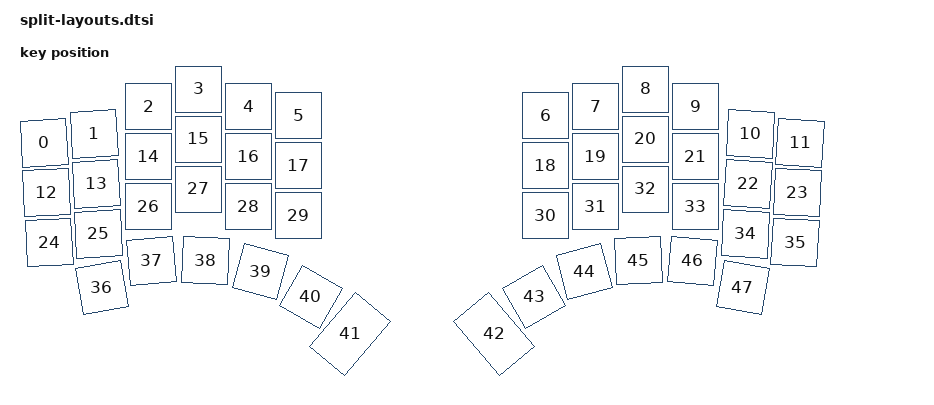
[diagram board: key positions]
// See https://zmk.dev/docs/development/hardware-integration/physical-layouts
// for how to configure this.

#include <physical_layouts.dtsi>

/ {
    physical_layout0: physical_layout_0 {
        compatible = "zmk,physical-layout";
        display-name = "LAYOUT";

        kscan = <&kscan0>;
        transform = <&matrix_transform0>;

        keys  //                     w   h    x    y     rot    rx    ry
            = <&key_physical_attrs 100 100    0  108  (-300)    50   158>
            , <&key_physical_attrs 100 100  100   90  (-300)   150   140>
            , <&key_physical_attrs 100 100  209   35       0     0     0>
            , <&key_physical_attrs 100 100  309    0       0     0     0>
            , <&key_physical_attrs 100 100  409   35       0     0     0>
            , <&key_physical_attrs 100 100  509   53       0     0     0>
            , <&key_physical_attrs 100 100 1003   53       0     0     0>
            , <&key_physical_attrs 100 100 1103   35       0     0     0>
            , <&key_physical_attrs 100 100 1203    0       0     0     0>
            , <&key_physical_attrs 100 100 1303   35       0     0     0>
            , <&key_physical_attrs 100 100 1413   90     300  1463   140>
            , <&key_physical_attrs 100 100 1512  108     300  1562   158>
            , <&key_physical_attrs 100 100    5  207  (-300)    55   257>
            , <&key_physical_attrs 100 100  104  190  (-300)   154   240>
            , <&key_physical_attrs 100 100  209  135       0     0     0>
            , <&key_physical_attrs 100 100  309  100       0     0     0>
            , <&key_physical_attrs 100 100  409  135       0     0     0>
            , <&key_physical_attrs 100 100  509  153       0     0     0>
            , <&key_physical_attrs 100 100 1003  153       0     0     0>
            , <&key_physical_attrs 100 100 1103  135       0     0     0>
            , <&key_physical_attrs 100 100 1203  100       0     0     0>
            , <&key_physical_attrs 100 100 1303  135       0     0     0>
            , <&key_physical_attrs 100 100 1408  190     300  1458   240>
            , <&key_physical_attrs 100 100 1507  207     300  1557   257>
            , <&key_physical_attrs 100 100   10  307  (-300)    60   357>
            , <&key_physical_attrs 100 100  109  290  (-300)   159   340>
            , <&key_physical_attrs 100 100  209  235       0     0     0>
            , <&key_physical_attrs 100 100  309  200       0     0     0>
            , <&key_physical_attrs 100 100  409  235       0     0     0>
            , <&key_physical_attrs 100 100  509  253       0     0     0>
            , <&key_physical_attrs 100 100 1003  253       0     0     0>
            , <&key_physical_attrs 100 100 1103  235       0     0     0>
            , <&key_physical_attrs 100 100 1203  200       0     0     0>
            , <&key_physical_attrs 100 100 1303  235       0     0     0>
            , <&key_physical_attrs 100 100 1403  290     300  1453   340>
            , <&key_physical_attrs 100 100 1502  307     300  1552   357>
            , <&key_physical_attrs 100 100  115  397 (-1000)   165   447>
            , <&key_physical_attrs 100 100  215  344  (-500)   265   394>
            , <&key_physical_attrs 100 100  323  343     200   373   393>
            , <&key_physical_attrs 100 100  433  365    1500   483   415>
            , <&key_physical_attrs 100 100  533  416    3000   583   466>
            , <&key_physical_attrs 100 150  612  465    4000   662   540>
            , <&key_physical_attrs 100 150  900  465 (-4000)   950   540>
            , <&key_physical_attrs 100 100  980  416 (-3000)  1030   466>
            , <&key_physical_attrs 100 100 1080  365 (-1500)  1130   415>
            , <&key_physical_attrs 100 100 1189  343  (-200)  1239   393>
            , <&key_physical_attrs 100 100 1297  344     500  1347   394>
            , <&key_physical_attrs 100 100 1397  397    1000  1447   447>
            ;
    };
};
